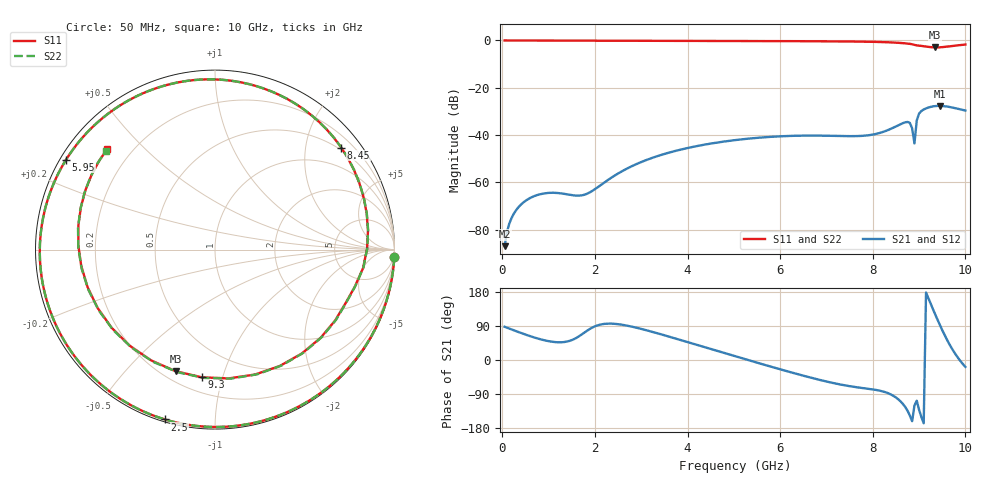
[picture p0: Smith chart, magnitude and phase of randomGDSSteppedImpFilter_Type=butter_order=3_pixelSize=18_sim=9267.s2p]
! freq	dB(S11)	phase(S11)	dB(S12)	phase(S12)
!  dB(S21)	phase(S21)	dB(S22)	phase(S22)
!S-par simulation data
#  GHz  S  DB  R 50
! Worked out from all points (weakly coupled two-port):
!   200 points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, 50 MHz to 10 GHz, reference 50 ohm
!   highest |S21| = -27.67 dB at 9.45 GHz (marker M1); lowest = -87.0 dB at 50 MHz (marker M2)
!   lowest |S11| = -2.9 dB at 9.35 GHz (marker M3), VSWR 5.95, Z = 12.7 - j34.8 ohm
!   |S11| at or under -10 dB: nowhere
!   |S22| runs from -2.9 to 0.0 dB; largest |S21 - S12| = 0
!   S11 on the Smith chart (normalised r, x): 50 MHz: 0, -48; 2.5 GHz: 0.01, -0.75; 5.95 GHz: 0.02, +0.28; 8.45 GHz: 0.44, +2.76; 9.3 GHz: 0.29, -0.86; 10 GHz: 0.11, +0.39
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0.05  -0.00 -2.4  -87.01 87.6  -87.01 87.6  -0.00 -2.4
0.35  -0.02 -16.7  -70.52 73.8  -70.52 73.8  -0.02 -16.6
0.65  -0.04 -30.7  -66.17 61.0  -66.17 61.0  -0.04 -30.7
1.75  -0.09 -78.3  -65.37 70.4  -65.37 70.4  -0.09 -78.3
2.5  -0.12 -106.5  -56.28 94.6  -56.28 94.6  -0.12 -106.5
3.4  -0.15 -136.4  -48.61 68.8  -48.61 68.8  -0.15 -136.4
5.05  -0.22 175.1  -42.10 9.1  -42.10 9.1  -0.22 175.1
5.95  -0.27 148.9  -40.60 -22.8  -40.60 -22.8  -0.27 148.8
6.7  -0.33 125.2  -40.24 -47.8  -40.24 -47.8  -0.33 125.1
7.7  -0.48 86.0  -40.42 -72.7  -40.42 -72.7  -0.48 85.9
8.35  -0.78 47.2  -37.73 -88.6  -37.73 -88.6  -0.78 47.2
8.45  -0.87 39.0  -36.84 -94.9  -36.84 -94.9  -0.87 39.0
8.8  -1.44 0.3  -34.85 -146.3  -34.85 -146.3  -1.43 0.5
8.85  -1.61 -7.2  -37.16 -161.5  -37.16 -161.5  -1.59 -6.9
8.9  -1.88 -14.9  -43.56 -120.1  -43.56 -120.1  -1.85 -14.6
8.95  -2.09 -22.2  -33.81 -107.5  -33.81 -107.5  -2.06 -21.9
9  -2.19 -30.6  -30.93 -131.6  -30.93 -131.6  -2.16 -30.2
9.3  -2.91 -95.9  -27.89 134.2  -27.89 134.2  -2.88 -94.8
9.35  -2.95 -108.0  -27.76 119.9  -27.76 119.9  -2.92 -106.8
9.45  -2.90 -131.6  -27.67 92.1  -27.67 92.1  -2.89 -130.3
9.7  -2.36 178.1  -28.30 32.0  -28.30 32.0  -2.37 179.3
10  -1.71 137.0  -29.65 -18.2  -29.65 -18.2  -1.72 138.0
